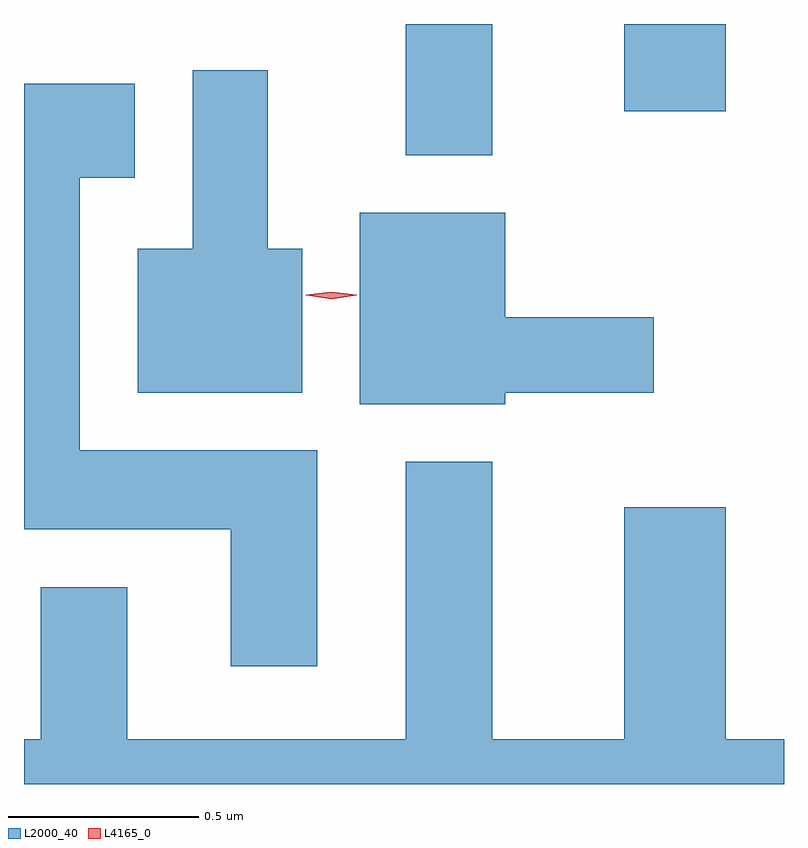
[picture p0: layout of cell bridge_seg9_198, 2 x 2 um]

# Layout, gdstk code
import gdstk
lib = gdstk.Library(unit=1e-6, precision=1e-09)
def R(c, l, rs):  # rectangles x0, y0, x1, y1
    for r in rs: c.add(gdstk.rectangle(r[:2], r[2:], *l))
def P(c, l, *ps):  # polygons
    for p in ps: c.add(gdstk.Polygon(p, *l))
L2000_40 = (2000, 40)
L4165_0 = (4165, 0)

bridge_seg9_198 = lib.new_cell('bridge_seg9_198')
R(bridge_seg9_198, L2000_40, [(1193.521,2049.121,1193.749,2049.466), (1194.096,2049.236,1194.364,2049.466)])
P(bridge_seg9_198, L2000_40, [(1193.249,2048.874),(1193.159,2048.874),(1193.159,2049.344),(1192.961,2049.344),(1192.961,2048.874),(1192.816,2048.874),(1192.816,2048.496),(1193.249,2048.496)],
  [(1193.289,2048.344),(1192.664,2048.344),(1192.664,2049.061),(1192.809,2049.061),(1192.809,2049.309),(1192.517,2049.309),(1192.517,2048.136),(1193.061,2048.136),(1193.061,2047.776),(1193.289,2047.776)],
  [(1193.784,2048.496),(1194.174,2048.496),(1194.174,2048.694),(1193.784,2048.694),(1193.784,2048.969),(1193.401,2048.969),(1193.401,2048.466),(1193.784,2048.466)],
  [(1194.517,2047.584),(1194.364,2047.584),(1194.364,2048.194),(1194.096,2048.194),(1194.096,2047.584),(1193.749,2047.584),(1193.749,2048.314),(1193.521,2048.314),(1193.521,2047.584),(1192.789,2047.584),(1192.789,2047.984),(1192.561,2047.984),(1192.561,2047.584),(1192.517,2047.584),(1192.517,2047.466),(1194.517,2047.466)])
P(bridge_seg9_198, L4165_0, [(1193.326,2048.742),(1193.26,2048.752),(1193.259,2048.752),(1193.26,2048.753),(1193.326,2048.762),(1193.392,2048.753),(1193.392,2048.752),(1193.392,2048.752)])

lib.write_gds('bridge_seg9_198.gds')
